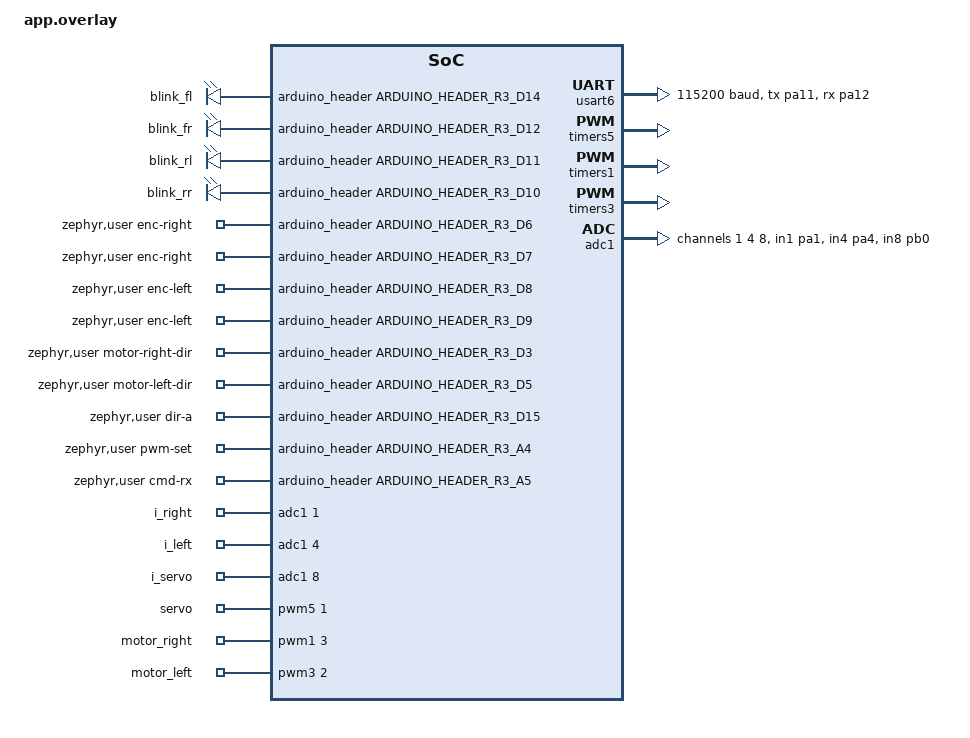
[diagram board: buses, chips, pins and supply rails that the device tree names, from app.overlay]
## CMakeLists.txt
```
cmake_minimum_required(VERSION 3.20.0)
find_package(Zephyr REQUIRED HINTS $ENV{ZEPHYR_BASE})
project(lab2)

target_sources(app PRIVATE src/main.c src/blinker.c src/motor.c src/encoder.c src/drive.c src/errorstate.c src/servo.c src/current.c src/picom.c src/status.c)
target_include_directories(app PRIVATE include)
```

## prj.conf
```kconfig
CONFIG_GPIO=y
CONFIG_PWM=y
CONFIG_ADC=y

# Hardware floats for the PID; sharing so any thread may use them safely
CONFIG_FPU=y
CONFIG_FPU_SHARING=y

# UART
CONFIG_SERIAL=y
CONFIG_UART_INTERRUPT_DRIVEN=y

# main only does init and test prints: keep it below every app thread (1-3)
CONFIG_MAIN_THREAD_PRIORITY=10
```

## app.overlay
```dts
/*
 * Lab 2 pin assignments for the Nucleo-F401RE, per lab2/Schematic (V2).
 *
 * Pitfalls:
 * - The board file already gives many header pins to SPI/I2C/UART/PWM. The
 *   build does NOT flag two users of one pin; the last driver to set it
 *   wins. Before enabling a board peripheral, check its pins against this file.
 * - GPIOs use Arduino names (D2, A5); PWM/ADC pinctrl uses MCU names (PA10).
 *   Both refer to the same pins: see the comments below.
 * - The KiCad symbol calls D14/D15 "SDA/A4" and "SCL/A5". On the Nucleo they
 *   are PB9/PB8, separate from A4/A5 (PC1/PC0).
 * - All channels of a timer share one period, so the servo has its own timer.
 * - D13 (PA5) also drives the green LD2, so it mirrors FL.
 * - D0/D1 (Pi UART) aren't connected to PA3/PA2 by default. USART2 is the
 *   ST-Link USB console.
 */

/* Board peripherals that claim pins we use */
&spi1 {		/* D11-D13 */
	status = "disabled";
};

&usart1 {	/* D10 */
	status = "disabled";
};

// UART 6 for com with pi in lab2
&usart6 {
    pinctrl-0 = <&usart6_tx_pa11 &usart6_rx_pa12>;
    pinctrl-names = "default";
    current-speed = <115200>;
    status = "okay";
};

&pwm2 {		/* D13 */
	status = "disabled";
};

&i2c1 {		/* D14, D15 */
	status = "disabled";
};

&i2c3 {		/* D7 */
	status = "disabled";
};

/* Servo: A0 = PA0 */
&timers5 {
	status = "okay";

	pwm5: pwm {
		status = "okay";
		pinctrl-0 = <&tim5_ch1_pa0>;
		pinctrl-names = "default";
	};
};

/* Right motor PWM: D2 = PA10 (L298N IN1) */
&timers1 {
	status = "okay";

	pwm1: pwm {
		status = "okay";
		pinctrl-0 = <&tim1_ch3_pa10>;
		pinctrl-names = "default";
	};
};

/* Left motor PWM: D4 = PB5 (L298N IN3) */
&timers3 {
	status = "okay";

	pwm3: pwm {
		status = "okay";
		pinctrl-0 = <&tim3_ch2_pb5>;
		pinctrl-names = "default";
	};
};

/* The board sets ADCCLK to 84/2 = 42 MHz; the F401 maximum is 36 MHz */
&adc123_common {
	st,adc-prescaler = <4>;
};

/*
 * Current sensors: A1 = PA1 (I_Right), A2 = PA4 (I_Left), A3 = PB0 (I_Servo).
 * Longest sample time, because the 4.7k/4.7k dividers are a high-impedance
 * source.
 */
&adc1 {
	#address-cells = <1>;
	#size-cells = <0>;
	pinctrl-0 = <&adc1_in1_pa1 &adc1_in4_pa4 &adc1_in8_pb0>;

	channel@1 {
		reg = <1>;
		zephyr,gain = "ADC_GAIN_1";
		zephyr,reference = "ADC_REF_INTERNAL";
		zephyr,acquisition-time = <ADC_ACQ_TIME_MAX>;
		zephyr,resolution = <12>;
	};

	channel@4 {
		reg = <4>;
		zephyr,gain = "ADC_GAIN_1";
		zephyr,reference = "ADC_REF_INTERNAL";
		zephyr,acquisition-time = <ADC_ACQ_TIME_MAX>;
		zephyr,resolution = <12>;
	};

	channel@8 {
		reg = <8>;
		zephyr,gain = "ADC_GAIN_1";
		zephyr,reference = "ADC_REF_INTERNAL";
		zephyr,acquisition-time = <ADC_ACQ_TIME_MAX>;
		zephyr,resolution = <12>;
	};
};

/ {
	/* pin -> 4.7k -> LED -> GND, so high = on */
	blinkers {
		compatible = "gpio-leds";

		blink_fl: blink_fl {
			gpios = <&arduino_header ARDUINO_HEADER_R3_D14 GPIO_ACTIVE_HIGH>;
		};

		blink_fr: blink_fr {
			gpios = <&arduino_header ARDUINO_HEADER_R3_D12 GPIO_ACTIVE_HIGH>;
		};

		blink_rl: blink_rl {
			gpios = <&arduino_header ARDUINO_HEADER_R3_D11 GPIO_ACTIVE_HIGH>;
		};

		blink_rr: blink_rr {
			gpios = <&arduino_header ARDUINO_HEADER_R3_D10 GPIO_ACTIVE_HIGH>;
		};
	};

	zephyr,user {
		/* <A>, <B> */
		enc-right-gpios = <&arduino_header ARDUINO_HEADER_R3_D6 GPIO_ACTIVE_HIGH>,
				  <&arduino_header ARDUINO_HEADER_R3_D7 GPIO_ACTIVE_HIGH>;
		enc-left-gpios = <&arduino_header ARDUINO_HEADER_R3_D8 GPIO_ACTIVE_HIGH>,
				 <&arduino_header ARDUINO_HEADER_R3_D9 GPIO_ACTIVE_HIGH>;

		/* L298N IN2, IN4 (ENA/ENB tied high) */
		motor-right-dir-gpios = <&arduino_header ARDUINO_HEADER_R3_D3 GPIO_ACTIVE_HIGH>;
		motor-left-dir-gpios = <&arduino_header ARDUINO_HEADER_R3_D5 GPIO_ACTIVE_HIGH>;

		/* Test points */
		dir-a-gpios = <&arduino_header ARDUINO_HEADER_R3_D15 GPIO_ACTIVE_HIGH>;
		pwm-set-gpios = <&arduino_header ARDUINO_HEADER_R3_A4 GPIO_ACTIVE_HIGH>;
		cmd-rx-gpios = <&arduino_header ARDUINO_HEADER_R3_A5 GPIO_ACTIVE_HIGH>;

		/* Motor period (20 kHz) is a placeholder */
		pwms = <&pwm5 1 PWM_MSEC(20) PWM_POLARITY_NORMAL>,
		       <&pwm1 3 PWM_USEC(50) PWM_POLARITY_NORMAL>,
		       <&pwm3 2 PWM_USEC(50) PWM_POLARITY_NORMAL>;
		pwm-names = "servo", "motor_right", "motor_left";

		io-channels = <&adc1 1>, <&adc1 4>, <&adc1 8>;
		io-channel-names = "i_right", "i_left", "i_servo";
	};
};
```

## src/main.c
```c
#include <zephyr/kernel.h>
#include <zephyr/sys/printk.h>

#include "blinker.h"
#include "drive.h"
#include "current.h"
#include "errorstate.h"
#include "servo.h"
#include "picom.h"
#include "status.h"

int main(void)
{
	if (current_sense_init() != 0 || 
		drive_init() != 0 || 
		blinker_init() != 0 || 
		servo_init() != 0 ||
		picom_init() != 0 ||
		status_init() != 0) {
		printk("init failed\n");
		return 1;
	}

	return 0;
}
```

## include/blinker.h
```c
#ifndef BLINKER_H
#define BLINKER_H

#include <stdbool.h>
#include <stdint.h>

/* Steering is -100..100 (see servo.h); 30 = 30% of full lock */
#define BLINKER_TURN_THRESHOLD 30

/* Configure the LED pins and start in the error state (hazards) */
int blinker_init(void);

/* Call once per button press, not while the button is held */
void blinker_left_pressed(void);
void blinker_right_pressed(void);

/* Call with every new steering value; handles self-cancel */
void blinker_steering(int32_t steering);

/* true = hazards, false = leave the error state (blinkers off) */
void blinker_set_error(bool error);

#endif
```

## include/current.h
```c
#ifndef CURRENT_H
#define CURRENT_H

enum current_sensor
{
    MOTOR_LEFT = 0,
    MOTOR_RIGHT = 1,
    SERVO = 2
};

int current_sense_init(void);

int print_all_currents(void);

// Return the current passing through the given sensor, rounded to the
// nearest mA.
// Note that current can be negative based on direction.
int get_current(enum current_sensor sensor);

#endif
```

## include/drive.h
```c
#ifndef DRIVE_H
#define DRIVE_H

#include <stdbool.h>
#include <stdint.h>

/* Start the velocity control loop; starts in the error state (braked) */
int drive_init(void);

/*
 * Call with every valid command from the Pi; brake beats throttle.
 * throttle: -MOTOR_DUTY_MAX..MOTOR_DUTY_MAX (clamped), positive = forward.
 * Safe to call from a thread or an ISR.
 */
void drive_command(int32_t throttle, bool brake);

/* true = fail-safe (braked, commands ignored), false = back to normal */
void drive_set_error(bool error);

/* The latest control-loop tick */
struct drive_status {
	float target;		/* ticks per 10 ms */
	float velocity;		/* ticks per 10 ms, average of both wheels */
	int32_t duty;		/* 0 while braked */
};

struct drive_status drive_get_status(void);

#endif
```

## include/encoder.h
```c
#ifndef ENCODER_H
#define ENCODER_H

#include <stdint.h>

enum side {
	SIDE_LEFT,
	SIDE_RIGHT,
};

/* Configure the A/B pins and their interrupts */
int encoder_init(void);

/* Raw signed tick count since init; sign follows the direction of travel */
int32_t encoder_count(enum side s);

/* Velocity is the tick change over the last ENCODER_WINDOW samples */
#define ENCODER_SAMPLE_MS 1
#define ENCODER_WINDOW 10	/* 10 * 1 ms = 10 ms; full speed is ~71 */

/* Call every ENCODER_SAMPLE_MS from the control thread only */
void encoder_sample(void);

/* Ticks per ENCODER_WINDOW * ENCODER_SAMPLE_MS, as of the last sample */
int32_t encoder_velocity(enum side s);

#endif
```

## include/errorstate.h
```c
#ifndef ERRORSTATE_H
#define ERRORSTATE_H

#include <stdbool.h>
#include <stdint.h>

#include <zephyr/sys/util.h>	/* BIT() */

/*
 * Sole owner of the error state; callers report events. ISR-safe.
 * Parser: call errorstate_frame_ok() before drive_command().
 */

/* In the error state while any bit is set */
#define ERR_POWERUP	    BIT(0)
#define ERR_LINK_LOST	BIT(1)
#define ERR_BAD_CMD	    BIT(2)
#define ERR_SELFTEST	BIT(3)	/* cleared only by errorstate_selftest_exit() */

/* 3 missed commands at a 20 ms period */
#define LINK_TIMEOUT_MS (3 * 20)

/* Valid frame: clears all but ERR_SELFTEST, restarts the link timer */
void errorstate_frame_ok(void);

/* Well-formed but out of range; malformed frames are just dropped */
void errorstate_out_of_range(void);

/* Enter on every press edge; exit on the second press of a double */
void errorstate_selftest_enter(void);
void errorstate_selftest_exit(void);

bool errorstate_active(void);
uint32_t errorstate_causes(void);	/* ERR_* mask */

#endif
```

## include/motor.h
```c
#ifndef MOTOR_H
#define MOTOR_H

#include <stdint.h>

#include "encoder.h"	/* enum side */

/* Full duty; motor_set() takes -MOTOR_DUTY_MAX..MOTOR_DUTY_MAX */
#define MOTOR_DUTY_MAX 1000

/* Configure PWM, DIR and test-point pins; both motors start braked */
int motor_init(void);

/* Positive = forward; out-of-range values are clamped. Toggles PWM_SET */
void motor_set(enum side s, int32_t duty);

/* Both motors: PWM off and dynamic braking */
void motor_brake(void);

#endif
```

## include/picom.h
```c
#ifndef UART_H
#define UART_H

#include <stdbool.h>
#include <stdint.h>


/* Configure the UART pins and start */
int picom_init(void);

/* Send char * terminated by 0x7F byte over picom link */
void picom_send(const char *s);

/*
 * Blocks until the next message arrives and copies it (64 chars, ending in
 * 0x7F) to output. For the parser thread; don't mix with picom_read().
 */
void picom_wait(char *output);

/*
 * Copies the most recent 64 char message from uart buffer to output. 
 * Deletes all messages from uart buffer. Returns if any message was found.
 */
bool picom_read(char *output);

#endif
```

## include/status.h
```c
#ifndef STATUS_H
#define STATUS_H

#include <stdint.h>

/* Currents: +/-CURRENT_FULL_SCALE_MA maps to +/-100 in the frame */
#define CURRENT_FULL_SCALE_MA 1000

#define STATUS_PERIOD_MS 20

/* mA -> the -100..100 value sent in the frame (clamped) */
int8_t status_scale_current(int ma);

/* Start sending status frames; call after current_sense_init() and picom_init() */
int status_init(void);

#endif
```

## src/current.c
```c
#include <zephyr/device.h>
#include <zephyr/devicetree.h>
#include <zephyr/drivers/adc.h>
#include <zephyr/sys/printk.h>

#include "current.h"

// Macro definitions copied from https://github.com/zephyrproject-rtos/zephyr/blob/main/samples/drivers/adc/adc_dt/src/main.c
#if !DT_NODE_EXISTS(DT_PATH(zephyr_user)) || \
    !DT_NODE_HAS_PROP(DT_PATH(zephyr_user), io_channels)
#error "No suitable devicetree overlay specified"
#endif

#define DT_SPEC_AND_COMMA_FOR_INPUTS(node_id, prop, idx)           \
    COND_CODE_1(DT_PHA_HAS_CELL_AT_IDX(node_id, prop, idx, input), \
                (ADC_DT_SPEC_GET_BY_IDX(node_id, idx), ), ())

/* Data of ADC io-channels specified in devicetree. */
static const struct adc_dt_spec adc_channels[] = {
    DT_FOREACH_PROP_ELEM(DT_PATH(zephyr_user), io_channels,
                         DT_SPEC_AND_COMMA_FOR_INPUTS)};

// Storing the initial reading of the adc with 0 current
static int initial_readings[3];

int current_sense_init(void)
{
    int err;

    /* Configure channels individually prior to sampling. */
    for (size_t i = 0U; i < ARRAY_SIZE(adc_channels); i++)
    {
        if (!adc_is_ready_dt(&adc_channels[i]))
        {
            printk("ADC controller device %s not ready\n", adc_channels[i].dev->name);
            return 1;
        }

        err = adc_channel_setup_dt(&adc_channels[i]);
        if (err < 0)
        {
            printk("Could not setup channel #%d (%d)\n", i, err);
            return 1;
        }

        uint32_t buf = 0;

        struct adc_sequence sequence = {
            .buffer = &buf,
            /* buffer size in bytes, not number of samples */
            .buffer_size = sizeof(buf),
        };
        int err;

        (void)adc_sequence_init_dt(&adc_channels[i], &sequence);

        err = adc_read_dt(&adc_channels[i], &sequence);

        int32_t val_mv = (int32_t)buf;

        err = adc_raw_to_millivolts_dt(&adc_channels[i],
                                       &val_mv);

        initial_readings[i] = val_mv;
    }

    printk("ADC successfully setup\n");
    return 0;
}

// Return the current passing through the given sensor, rounded to the
// nearest mA.
// Note that current can be negative based on direction.
int get_current(enum current_sensor sensor)
{
    uint32_t buf = 0;

    struct adc_sequence sequence = {
        .buffer = &buf,
        /* buffer size in bytes, not number of samples */
        .buffer_size = sizeof(buf),
    };
    int err;

    (void)adc_sequence_init_dt(&adc_channels[sensor], &sequence);

    err = adc_read_dt(&adc_channels[sensor], &sequence);

    int32_t val_mv = (int32_t)buf;

    err = adc_raw_to_millivolts_dt(&adc_channels[sensor],
                                   &val_mv);

    if (err < 0)
    {
        printk("Could not read (%d)\n", err);
        // TODO: enter error state
    }

    val_mv -= initial_readings[sensor];

    // Sensor has 185 mV/A sensitivity
    // Multiply mV by 0.005405 ~= 173 >> 5
    return (val_mv * 173) >> 5;
}

int print_all_currents(void)
{

    printk("Printing ADC Values: \n");

    uint32_t buf = 0;
    int err;

    struct adc_sequence sequence = {
        .buffer = &buf,
        /* buffer size in bytes, not number of samples */
        .buffer_size = sizeof(buf),
    };

    for (size_t i = 0U; i < ARRAY_SIZE(adc_channels); i++)
    {

        int32_t val_mv;

        /*
         * Clear buffer before reading.  This ensures the upper 16-bits will be zero
         * when the adc uses a 16-bit buffer size.
         */
        buf = 0;

        printk("- %s, channel %d: ",
               adc_channels[i].dev->name,
               adc_channels[i].channel_id);

        (void)adc_sequence_init_dt(&adc_channels[i], &sequence);

        err = adc_read_dt(&adc_channels[i], &sequence);
        if (err < 0)
        {
            printk("Could not read (%d)\n", err);
            continue;
        }

        /*
         * If using differential mode, the 16 bit value
         * in the ADC sample buffer should be a signed 2's
         * complement value.
         */
        if (adc_channels[i].channel_cfg.differential)
        {
            val_mv = (int32_t)((int16_t)buf);
        }
        else
        {
            val_mv = (int32_t)buf;
        }

        err = adc_raw_to_millivolts_dt(&adc_channels[i],
                                       &val_mv);

        printk("%" PRId32, val_mv);
    }

    return 0;
}
```

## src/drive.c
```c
/*
 * Velocity control: throttle -> target velocity, PI on the average of the two
 * encoders, brake beats throttle.
 *
 * drive_command() and drive_set_error() only store the request. The control
 * thread is the only code that writes to the motors: every 1 ms it samples
 * the encoders, reads the request and either brakes or runs the PI. The 1 ms
 * period keeps command -> PWM_SET under the 2 ms limit.
 *
 * PWM_SET toggles only on the tick that first applies a new command, so
 * CMD_RX -> PWM_SET on the scope is the software response time.
 */

#include <stdlib.h>

#include <zephyr/kernel.h>
#include <zephyr/drivers/gpio.h>

#include "drive.h"
#include "encoder.h"
#include "motor.h"

/* Linear: full throttle = 30 ticks per 10 ms (~40% of the measured max) */
#define MAX_VELOCITY 30.0f
#define THROTTLE_DEADBAND 2	/* |throttle| below this (i.e. +/-1%) means 0 */

/* PI gains: velocity error (ticks per 10 ms) -> duty. TODO (team): tune */
#define KP 20.0f
#define KI 100.0f

#define DT (ENCODER_SAMPLE_MS / 1000.0f)	/* seconds per tick */

static const struct gpio_dt_spec tp_pwm_set =
	GPIO_DT_SPEC_GET(DT_PATH(zephyr_user), pwm_set_gpios);

/* Shared between the control thread and callers, always under the lock */
static struct k_spinlock lock;
static int32_t throttle;
static bool brake;
static bool error = true;	/* power-up is the error state */
static uint32_t seq;		/* bumped on every accepted command */
static struct drive_status status;

/* Only touched by the control thread */
static float integral;

static float throttle_to_target(int32_t t)
{
	if (abs(t) < THROTTLE_DEADBAND) {
		return 0.0f;
	}

	return t * MAX_VELOCITY / DRIVE_THROTTLE_MAX;
}

static int32_t pi_update(float target, float velocity)
{
	float err = target - velocity;
	float out = KP * err + KI * integral;

	/* Anti-windup: don't integrate further into saturation */
	bool saturated = (out >= MOTOR_DUTY_MAX && err > 0) ||
			 (out <= -MOTOR_DUTY_MAX && err < 0);

	if (!saturated) {
		integral += err * DT;
	}

	return (int32_t)CLAMP(out, -MOTOR_DUTY_MAX, MOTOR_DUTY_MAX);
}

K_SEM_DEFINE(start_sem, 0, 1);
K_TIMER_DEFINE(loop_timer, NULL, NULL);

static void control_loop(void *p1, void *p2, void *p3)
{
	uint32_t applied_seq = 0;

	/* Wait until drive_init() has set up the motors and encoders */
	k_sem_take(&start_sem, K_FOREVER);
	k_timer_start(&loop_timer, K_MSEC(ENCODER_SAMPLE_MS), K_MSEC(ENCODER_SAMPLE_MS));

	while (1) {
		k_timer_status_sync(&loop_timer);
		encoder_sample();

		k_spinlock_key_t key = k_spin_lock(&lock);
		int32_t t = throttle;
		bool stop = brake || error;
		uint32_t s = seq;

		k_spin_unlock(&lock, key);

		float velocity = (encoder_velocity(SIDE_LEFT) + encoder_velocity(SIDE_RIGHT)) / 2.0f;
		float target = 0.0f;
		int32_t duty = 0;

		if (stop) {
			motor_brake();
			integral = 0.0f;	/* so releasing the brake doesn't lurch */
		} else {
			target = throttle_to_target(t);
			duty = pi_update(target, velocity);
			motor_set(SIDE_LEFT, duty);
			motor_set(SIDE_RIGHT, duty);
		}

		/* First write after a new command: mark it for the scope */
		if (s != applied_seq) {
			gpio_pin_toggle_dt(&tp_pwm_set);
			applied_seq = s;
		}

		key = k_spin_lock(&lock);
		status = (struct drive_status){ target, velocity, duty };
		k_spin_unlock(&lock, key);
	}
}

/* Preemptive: higher-priority threads and ISRs can interrupt a tick */
K_THREAD_DEFINE(drive_thread, 1024, control_loop, NULL, NULL, NULL, K_PRIO_PREEMPT(2), 0, 0);

int drive_init(void)
{
	/* Motors first, so they're braked before anything else runs */
	int ret = motor_init();

	if (ret < 0) {
		return ret;
	}

	if (!gpio_is_ready_dt(&tp_pwm_set)) {
		return -ENODEV;
	}

	ret = gpio_pin_configure_dt(&tp_pwm_set, GPIO_OUTPUT_INACTIVE);
	if (ret < 0) {
		return ret;
	}

	ret = encoder_init();
	if (ret < 0) {
		return ret;
	}

	k_sem_give(&start_sem);
	return 0;
}

void drive_command(int32_t new_throttle, bool new_brake)
{
	k_spinlock_key_t key = k_spin_lock(&lock);

	/* Ignored in the error state */
	if (!error) {
		throttle = CLAMP(new_throttle, -DRIVE_THROTTLE_MAX, DRIVE_THROTTLE_MAX);
		brake = new_brake;
		seq++;
	}

	k_spin_unlock(&lock, key);
}

void drive_set_error(bool new_error)
{
	k_spinlock_key_t key = k_spin_lock(&lock);

	/* Either way, start again from a standstill */
	error = new_error;
	throttle = 0;
	brake = false;
	seq++;

	k_spin_unlock(&lock, key);
}

struct drive_status drive_get_status(void)
{
	k_spinlock_key_t key = k_spin_lock(&lock);
	struct drive_status s = status;

	k_spin_unlock(&lock, key);
	return s;
}
```

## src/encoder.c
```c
/*
 * Wheel encoders, x4 quadrature decoding.
 *
 * The A/B pins (D6-D9) aren't on a timer's CH1/CH2 pair, so hardware encoder
 * mode isn't available: count edges in GPIO interrupts instead. Every edge of
 * A and B interrupts, and a lookup table turns the old and new A/B state into
 * +1, -1 or 0 (no change, or an invalid jump where both pins changed).
 *
 * The pins use EXTI lines 7-10. STM32 has one EXTI line per pin number across
 * all ports, so no other interrupt pin can be pin 7-10 on any port.
 */

#include <zephyr/kernel.h>
#include <zephyr/drivers/gpio.h>
#include <zephyr/sys/atomic.h>

#include "encoder.h"

#define USER_NODE DT_PATH(zephyr_user)

/* Indexed by enum side */
static const struct gpio_dt_spec enc_a[] = {
	[SIDE_LEFT] = GPIO_DT_SPEC_GET_BY_IDX(USER_NODE, enc_left_gpios, 0),
	[SIDE_RIGHT] = GPIO_DT_SPEC_GET_BY_IDX(USER_NODE, enc_right_gpios, 0),
};

static const struct gpio_dt_spec enc_b[] = {
	[SIDE_LEFT] = GPIO_DT_SPEC_GET_BY_IDX(USER_NODE, enc_left_gpios, 1),
	[SIDE_RIGHT] = GPIO_DT_SPEC_GET_BY_IDX(USER_NODE, enc_right_gpios, 1),
};

/* Set true for a side that counts down when the car rolls forward */
static const bool reversed[] = {
	[SIDE_LEFT] = true,
	[SIDE_RIGHT] = false,
};

/*
 * Index = previous state << 2 | new state, where state = A << 1 | B.
 * Forward is 00 -> 01 -> 11 -> 10 -> 00.
 */
static const int8_t step[16] = {
	 0, +1, -1,  0,
	-1,  0,  0, +1,
	+1,  0,  0, -1,
	 0, -1, +1,  0,
};

/* Read by threads, so atomic */
static atomic_t count[2];
static atomic_t invalid[2];	/* both pins changed: an edge was missed */

/*
 * Only touched by that side's ISRs, which can't preempt each other as long as
 * EXTI9_5 and EXTI15_10 keep the same priority
 */
static uint8_t prev[2];

/* A and B of one encoder are on different ports: one callback per pin */
struct enc_cb {
	struct gpio_callback cb;
	enum side s;
};

static struct enc_cb callbacks[4];

static uint8_t read_state(enum side s)
{
	return (gpio_pin_get_dt(&enc_a[s]) << 1) | gpio_pin_get_dt(&enc_b[s]);
}

/* Runs in ISR context: two pin reads and an atomic add, nothing else */
static void on_edge(const struct device *port, struct gpio_callback *cb, gpio_port_pins_t pins)
{
	enum side s = CONTAINER_OF(cb, struct enc_cb, cb)->s;
	uint8_t cur = read_state(s);
	int8_t delta = step[(prev[s] << 2) | cur];

	if (delta != 0) {
		atomic_add(&count[s], reversed[s] ? -delta : delta);
	} else if (cur != prev[s]) {
		atomic_inc(&invalid[s]);
	}

	prev[s] = cur;
}

int encoder_init(void)
{
	const struct gpio_dt_spec *pins[] = {
		&enc_a[SIDE_LEFT], &enc_b[SIDE_LEFT],
		&enc_a[SIDE_RIGHT], &enc_b[SIDE_RIGHT],
	};

	for (int i = 0; i < ARRAY_SIZE(pins); i++) {
		if (!gpio_is_ready_dt(pins[i])) {
			return -ENODEV;
		}

		int ret = gpio_pin_configure_dt(pins[i], GPIO_INPUT);

		if (ret < 0) {
			return ret;
		}
	}

	/* Start from the real pin levels so the first edge isn't miscounted */
	prev[SIDE_LEFT] = read_state(SIDE_LEFT);
	prev[SIDE_RIGHT] = read_state(SIDE_RIGHT);

	for (int i = 0; i < ARRAY_SIZE(pins); i++) {
		callbacks[i].s = (i < 2) ? SIDE_LEFT : SIDE_RIGHT;
		gpio_init_callback(&callbacks[i].cb, on_edge, BIT(pins[i]->pin));

		int ret = gpio_add_callback_dt(pins[i], &callbacks[i].cb);

		if (ret < 0) {
			return ret;
		}

		ret = gpio_pin_interrupt_configure_dt(pins[i], GPIO_INT_EDGE_BOTH);
		if (ret < 0) {
			return ret;
		}
	}

	return 0;
}

int32_t encoder_count(enum side s)
{
	return atomic_get(&count[s]);
}

int32_t encoder_errors(enum side s)
{
	return atomic_get(&invalid[s]);
}

/*
 * Only the control thread calls encoder_sample() and encoder_velocity(), so
 * these need no lock. history[s][oldest] is the count from one window ago.
 */
static int32_t history[2][ENCODER_WINDOW];
static int32_t velocity[2];
static int oldest;

void encoder_sample(void)
{
	for (int s = 0; s < 2; s++) {
		int32_t now = atomic_get(&count[s]);

		velocity[s] = now - history[s][oldest];
		history[s][oldest] = now;
	}

	oldest = (oldest + 1) % ENCODER_WINDOW;
}

int32_t encoder_velocity(enum side s)
{
	return velocity[s];
}
```

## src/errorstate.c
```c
/*
 * Error state: hazards on, motors braked, commands ignored.
 *
 * One bit per cause, since each has its own exit rule. Outputs change only
 * when the mask goes between zero and non-zero, and are set under the lock
 * so the link timer ISR can't interleave. Lock order: errorstate, then
 * drive/blinker.
 *
 * The link timer is not started at power-up; ERR_POWERUP covers that.
 */

#include <zephyr/kernel.h>

#include "blinker.h"
#include "drive.h"
#include "errorstate.h"

static struct k_spinlock lock;
static uint32_t causes = ERR_POWERUP;	/* drive and blinker also start in error */

static void update_error_causes(uint32_t set, uint32_t clear)
{
	k_spinlock_key_t key = k_spin_lock(&lock);
	bool was_error = causes != 0;

	causes = (causes | set) & ~clear;

	bool is_error = causes != 0;

	if (is_error != was_error) {
		drive_set_error(is_error);
		blinker_set_error(is_error);
		/* TODO: servo safe position once servo.c exists */
	}

	k_spin_unlock(&lock, key);
}

/* Runs in ISR context */
static void link_expired(struct k_timer *timer)
{
	update_error_causes(ERR_LINK_LOST, 0);
}

K_TIMER_DEFINE(link_timer, link_expired, NULL);

void errorstate_frame_ok(void)
{
	k_timer_start(&link_timer, K_MSEC(LINK_TIMEOUT_MS), K_NO_WAIT);
	update_error_causes(0, ERR_POWERUP | ERR_LINK_LOST | ERR_BAD_CMD);
}

void errorstate_out_of_range(void)
{
	update_error_causes(ERR_BAD_CMD, 0);
}

void errorstate_selftest_enter(void)
{
	update_error_causes(ERR_SELFTEST, 0);
}

void errorstate_selftest_exit(void)
{
	update_error_causes(0, ERR_SELFTEST);
}

uint32_t errorstate_causes(void)
{
	k_spinlock_key_t key = k_spin_lock(&lock);
	uint32_t c = causes;

	k_spin_unlock(&lock, key);
	return c;
}

bool errorstate_active(void)
{
	return errorstate_causes() != 0;
}
```
